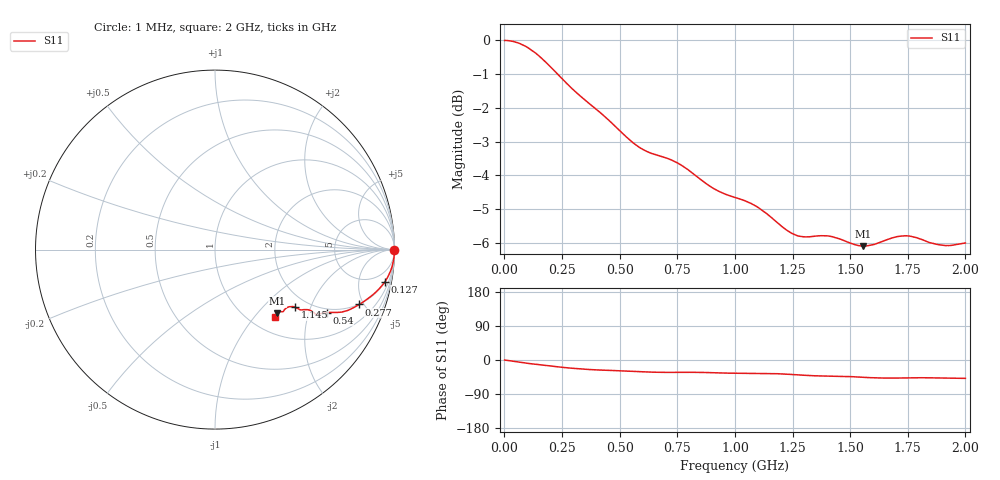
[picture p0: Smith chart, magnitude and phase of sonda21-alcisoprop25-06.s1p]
! COPPER MOUNTAIN TECHNOLOGIES, R60, 23103002, 24.3.3/3.0
! Date: 25/6/2026 14:38:12
! Data: Format [Calibration Info]
! Frequency		S11: Mag/Ang F1
# HZ S MA R 50
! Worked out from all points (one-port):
!   2000 points, 1 MHz to 2 GHz, reference 50 ohm
!   lowest |S11| = -6.1 dB at 1.557 GHz (marker M1), VSWR 2.97, Z = 68.3 - j64.2 ohm
!   |S11| at or under -10 dB: nowhere
!   S11 on the Smith chart (normalised r, x): 1 MHz: open; 127 MHz: 2, -10; 277 MHz: 1.98, -4.62; 540 MHz: 1.85, -2.64; 1.145 GHz: 1.71, -1.58; 2 GHz: 1.28, -1.28
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1000000  0.9997 -0.1
6.1e7  0.9912 -5.4
1.27e8  0.9625 -10.8
1.88e8  0.9225 -15.2
2.51e8  0.8768 -19.3
2.77e8  0.8593 -20.8
3.28e8  0.828 -23.5
3.77e8  0.8018 -25.4
5.01e8  0.7348 -28.4
5.4e8  0.7142 -29.4
6.3e8  0.682 -31.8
6.92e8  0.6715 -32.7
7.51e8  0.6584 -32.6
8.66e8  0.6171 -32.9
1.001e9  0.5853 -35.1
1.145e9  0.5515 -35.6
1.197e9  0.5326 -36.5
1.251e9  0.5172 -38.3
1.309e9  0.5118 -40.6
1.372e9  0.5138 -42.1
1.501e9  0.5011 -43.8
1.557e9  0.4959 -45.6
1.609e9  0.4995 -47.2
1.66e9  0.5071 -47.8
1.751e9  0.5135 -47.1
1.868e9  0.4997 -47.2
1.939e9  0.4972 -48.3
2e9  0.5012 -48.5
